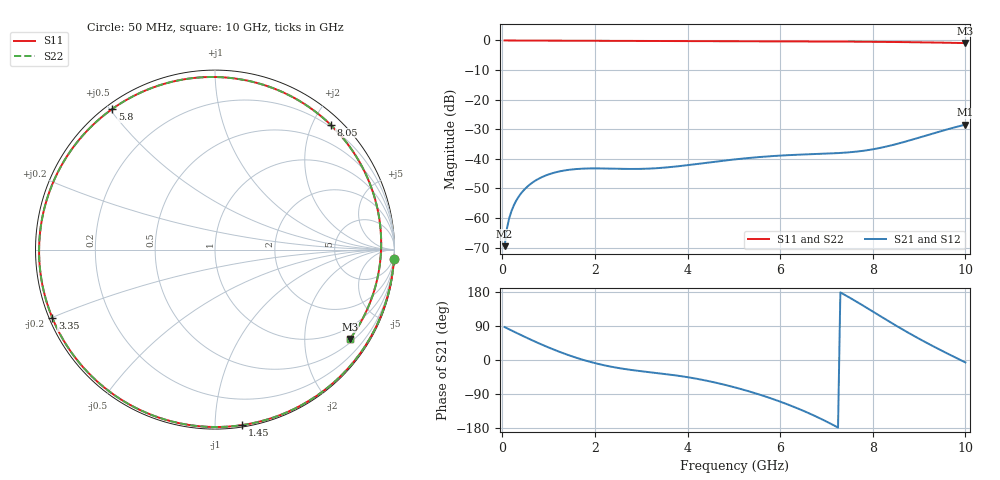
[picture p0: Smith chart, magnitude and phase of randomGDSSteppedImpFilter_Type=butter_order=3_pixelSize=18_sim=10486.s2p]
! freq	dB(S11)	phase(S11)	dB(S12)	phase(S12)
!  dB(S21)	phase(S21)	dB(S22)	phase(S22)
!S-par simulation data
#  GHz  S  DB  R 50
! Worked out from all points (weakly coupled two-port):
!   200 points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, 50 MHz to 10 GHz, reference 50 ohm
!   highest |S21| = -28.45 dB at 10 GHz (marker M1); lowest = -69.5 dB at 50 MHz (marker M2)
!   lowest |S11| = -0.9 dB at 10 GHz (marker M3), VSWR 19.35, Z = 30.3 - j161 ohm
!   |S11| at or under -10 dB: nowhere
!   |S22| runs from -0.9 to 0.0 dB; largest |S21 - S12| = 0
!   S11 on the Smith chart (normalised r, x): 50 MHz: 1, -39; 1.45 GHz: 0.01, -1.17; 3.35 GHz: 0.01, -0.20; 5.8 GHz: 0.02, +0.51; 8.05 GHz: 0.17, +2.28; 10 GHz: 0.61, -3.22
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0.05  -0.01 -2.9  -69.52 86.9  -69.52 86.9  -0.01 -2.9
0.1  -0.02 -5.9  -63.53 83.8  -63.53 83.8  -0.02 -5.9
0.2  -0.03 -12.0  -57.58 77.9  -57.58 77.9  -0.03 -12.0
0.3  -0.04 -18.0  -54.15 71.9  -54.15 71.9  -0.04 -18.0
0.45  -0.04 -26.9  -50.84 63.1  -50.84 63.1  -0.04 -26.9
0.95  -0.07 -55.4  -45.56 35.6  -45.56 35.6  -0.07 -55.3
1.45  -0.09 -81.2  -43.69 12.0  -43.69 12.0  -0.09 -81.2
1.75  -0.10 -95.4  -43.32 0.2  -43.32 0.2  -0.10 -95.3
2.55  -0.13 -128.7  -43.39 -22.0  -43.39 -22.0  -0.13 -128.6
3.35  -0.15 -157.1  -43.15 -34.5  -43.15 -34.5  -0.15 -157.1
3.4  -0.15 -158.8  -43.10 -35.2  -43.10 -35.2  -0.15 -158.8
4.2  -0.18 175.6  -41.76 -49.6  -41.76 -49.6  -0.18 175.6
5.05  -0.22 149.5  -40.15 -73.2  -40.15 -73.2  -0.22 149.5
5.8  -0.26 126.2  -39.11 -101.2  -39.11 -101.2  -0.26 126.1
6.7  -0.32 96.6  -38.42 -144.8  -38.42 -144.8  -0.32 96.6
7.4  -0.39 71.8  -37.92 171.6  -37.92 171.6  -0.39 71.8
8.05  -0.46 47.2  -36.65 124.3  -36.65 124.3  -0.46 47.2
8.35  -0.51 35.4  -35.65 101.9  -35.65 101.9  -0.51 35.3
8.8  -0.59 17.1  -33.76 69.7  -33.76 69.7  -0.59 17.0
9.2  -0.67 0.4  -31.91 43.0  -31.91 43.0  -0.67 0.4
9.6  -0.78 -16.5  -30.09 17.8  -30.09 17.8  -0.78 -16.5
10  -0.90 -33.5  -28.45 -6.4  -28.45 -6.4  -0.90 -33.5
